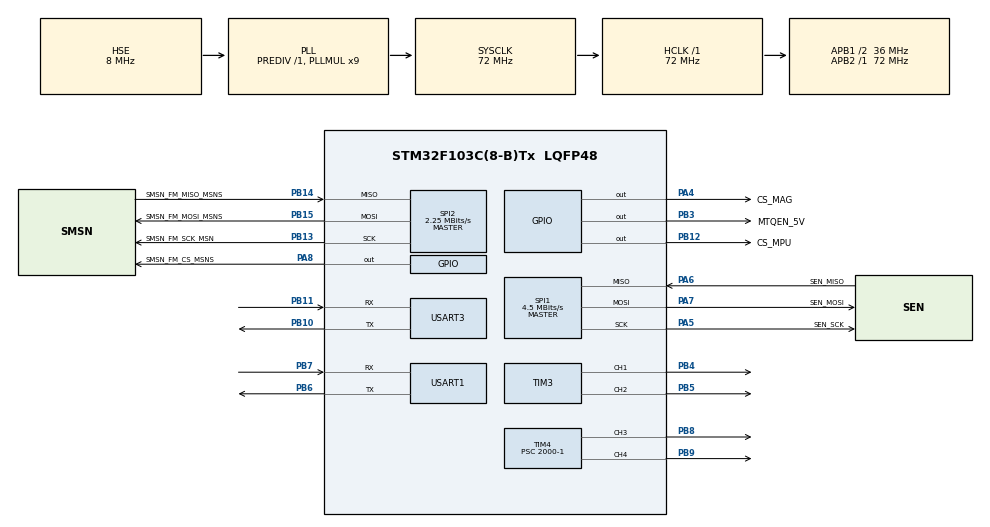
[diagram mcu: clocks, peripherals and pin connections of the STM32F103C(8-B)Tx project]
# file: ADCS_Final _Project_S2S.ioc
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Mcu.Family=STM32F1
Mcu.Name=STM32F103C(8-B)Tx
Mcu.Package=LQFP48
NVIC.PriorityGroup=NVIC_PRIORITYGROUP_4
PA13.Mode=Serial_Wire
PA13.Signal=SYS_JTMS-SWDIO
PA14.Mode=Serial_Wire
PA14.Signal=SYS_JTCK-SWCLK
PA4.GPIO_Label=CS_MAG
PA4.Signal=GPIO_Output
PA5.GPIO_Label=SEN_SCK
PA5.Mode=Full_Duplex_Master
PA5.Signal=SPI1_SCK
PA6.GPIO_Label=SEN_MISO
PA6.Mode=Full_Duplex_Master
PA6.Signal=SPI1_MISO
PA7.GPIO_Label=SEN_MOSI
PA7.Mode=Full_Duplex_Master
PA7.Signal=SPI1_MOSI
PA8.GPIO_Label=SMSN_FM_CS_MSNS
PA8.Signal=GPIO_Output
PB10.Mode=Asynchronous
PB10.Signal=USART3_TX
PB11.Mode=Asynchronous
PB11.Signal=USART3_RX
PB12.GPIO_Label=CS_MPU
PB12.Signal=GPIO_Output
PB13.GPIO_Label=SMSN_FM_SCK_MSN
PB13.Mode=Full_Duplex_Master
PB13.Signal=SPI2_SCK
PB14.GPIO_Label=SMSN_FM_MISO_MSNS
PB14.Mode=Full_Duplex_Master
PB14.Signal=SPI2_MISO
PB15.GPIO_Label=SMSN_FM_MOSI_MSNS
PB15.Mode=Full_Duplex_Master
PB15.Signal=SPI2_MOSI
PB3.GPIO_Label=MTQEN_5V
PB3.Signal=GPIO_Output
PB4.Signal=S_TIM3_CH1
PB5.Signal=S_TIM3_CH2
PB6.Mode=Asynchronous
PB6.Signal=USART1_TX
PB7.Mode=Asynchronous
PB7.Signal=USART1_RX
PB8.Signal=S_TIM4_CH3
PB9.Signal=S_TIM4_CH4
PD0-OSC_IN.Mode=HSE-External-Oscillator
PD0-OSC_IN.Signal=RCC_OSC_IN
PD1-OSC_OUT.Mode=HSE-External-Oscillator
PD1-OSC_OUT.Signal=RCC_OSC_OUT
ProjectManager.HeapSize=0x200
ProjectManager.StackSize=0x400
ProjectManager.TargetToolchain=STM32CubeIDE
RCC.AHBFreq_Value=72000000
RCC.APB1CLKDivider=RCC_HCLK_DIV2
RCC.APB1Freq_Value=36000000
RCC.APB1TimFreq_Value=72000000
RCC.APB2Freq_Value=72000000
RCC.APB2TimFreq_Value=72000000
RCC.HCLKFreq_Value=72000000
RCC.PLLMUL=RCC_PLL_MUL9
RCC.PLLSourceVirtual=RCC_PLLSOURCE_HSE
RCC.SYSCLKFreq_VALUE=72000000
RCC.SYSCLKSource=RCC_SYSCLKSOURCE_PLLCLK
RCC.USBFreq_Value=72000000
SH.S_TIM3_CH1.0=TIM3_CH1,PWM Generation1 CH1
SH.S_TIM3_CH2.0=TIM3_CH2,PWM Generation2 CH2
SH.S_TIM4_CH3.0=TIM4_CH3,PWM Generation3 CH3
SH.S_TIM4_CH4.0=TIM4_CH4,PWM Generation4 CH4
SPI1.BaudRatePrescaler=SPI_BAUDRATEPRESCALER_16
SPI1.CalculateBaudRate=4.5 MBits/s
SPI1.Direction=SPI_DIRECTION_2LINES
SPI1.Mode=SPI_MODE_MASTER
SPI1.VirtualType=VM_MASTER
SPI2.BaudRatePrescaler=SPI_BAUDRATEPRESCALER_16
SPI2.CalculateBaudRate=2.25 MBits/s
SPI2.Direction=SPI_DIRECTION_2LINES
SPI2.Mode=SPI_MODE_MASTER
SPI2.VirtualType=VM_MASTER
TIM3.Channel-PWM\ Generation1\ CH1=TIM_CHANNEL_1
TIM3.Channel-PWM\ Generation2\ CH2=TIM_CHANNEL_2
TIM4.Channel-PWM\ Generation3\ CH3=TIM_CHANNEL_3
TIM4.Channel-PWM\ Generation4\ CH4=TIM_CHANNEL_4
TIM4.Period=36000-1
TIM4.Prescaler=2000-1
USART1.VirtualMode=VM_ASYNC
USART3.VirtualMode=VM_ASYNC
board=custom

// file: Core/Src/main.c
/* USER CODE BEGIN Header */
/**
 ******************************************************************************
 * @file           : main.c
 * @brief          : Main program body
 ******************************************************************************
 * @attention
 *
 * <h2><center>&copy; Copyright (c) 2024 STMicroelectronics.
 * All rights reserved.</center></h2>
 *
 * This software component is licensed by ST under BSD 3-Clause license,
 * the "License"; You may not use this file except in compliance with the
 * License. You may obtain a copy of the License at:
 *                        opensource.org/licenses/BSD-3-Clause
 *
 ******************************************************************************
 */
/* USER CODE END Header */
#include "main.h"

/* USER CODE BEGIN Includes */
#include "IMU.h"
#include "MT25QL.h"
#include "USER_FUNCTIONS.h"
#include "estimator_main.h"
/* USER CODE END Includes */

/* USER CODE BEGIN PTD */
#define FLASH_START_ADDRESS 0x00000000
#define PAGE_SIZE 256
#define PAYLOAD_LENGTH 18
/* USER CODE END PTD */

SPI_HandleTypeDef hspi1;
SPI_HandleTypeDef hspi2;

TIM_HandleTypeDef htim3;
TIM_HandleTypeDef htim4;

UART_HandleTypeDef huart1;
UART_HandleTypeDef huart3;

/* USER CODE BEGIN PV */
MPU6500_t MPU6500;
lsm9ds1_t lsm9ds1;
uint8_t check;
uint8_t _buffer1;
uint8_t cmd = READ_ID;
uint8_t data[20];
uint8_t txBuffer[25];
uint8_t rxData[25];

uint8_t pkt_id;
DEVICE_ID FM_ID;
uint32_t present_address;

extern sat_att_combined combined_sat_att;
/* USER CODE END PV */

void SystemClock_Config(void);
static void MX_GPIO_Init(void);
static void MX_SPI1_Init(void);
static void MX_SPI2_Init(void);
static void MX_TIM3_Init(void);
static void MX_TIM4_Init(void);
static void MX_USART1_UART_Init(void);
static void MX_USART3_UART_Init(void);

int main(void) {

	/* MCU Configuration--------------------------------------------------------*/

	/* Reset of all peripherals, Initializes the Flash interface and the Systick. */
	HAL_Init();

	/* Configure the system clock */
	SystemClock_Config();

	/* Initialize all configured peripherals */
	MX_GPIO_Init();
	MX_SPI1_Init();
	MX_SPI2_Init();
	MX_TIM3_Init();
	MX_TIM4_Init();
	MX_USART1_UART_Init();
	MX_USART3_UART_Init();
	/* USER CODE BEGIN 2 */
	uint32_t flash_address = FLASH_START_ADDRESS;
//	Read_ID(&hspi2, &FM_ID);
	myprintf("### Read_Id : 0x%x \n", FM_ID.MAN_ID);
	HAL_Delay(1);
//	int ret = Sector_Erase(&hspi2, flash_address, 64);
//	Bulk_Read(&hspi2, flash_address, rxData, sizeof(rxData));
	HAL_Delay(1);
	myprintf("%s \n", (char*) rxData);

	/* USER CODE END 2 */

	/* Infinite loop */
	/* USER CODE BEGIN WHILE */
	while (1) {

		whoAmI();
		IMU_Setup();
		HAL_Delay(1000);
		MPU_calcAttitude(&MPU6500);
		MagRead(&lsm9ds1);

		myprintf("### Storing IMU Data in : 0x%x \n", flash_address);
		//		IMU_Data();
		sprintf((char*) txBuffer, "%.2f%.2f%.2f", combined_sat_att.roll,
				combined_sat_att.pitch, combined_sat_att.yaw);
		//		if (sizeof(SAT_IMU) <= PAGE_SIZE) {
//		Page_Write(&hspi2, flash_address, txBuffer, sizeof(txBuffer));
		//		}
		HAL_Delay(1);
		myprintf("### Checking if data is stored or not, in : 0x%x \n",
				flash_address);
		myprintf("--> Stored Data : \n");
//		Bulk_Read(&hspi2, flash_address, rxData, sizeof(rxData));
		HAL_Delay(1);
		myprintf("%s \n", (char*) rxData);
		//		for (int i = 0; i < FLASH_START_ADDRESS; i++) {
		//			myprintf("%x ", rxData[i]);
		//		}
		myprintf("\n");
		HAL_Delay(1000);
		/* USER CODE END WHILE */

	}
}

void SystemClock_Config(void) {
	RCC_OscInitTypeDef RCC_OscInitStruct = { 0 };
	RCC_ClkInitTypeDef RCC_ClkInitStruct = { 0 };

	/** Initializes the RCC Oscillators according to the specified parameters
	 * in the RCC_OscInitTypeDef structure.
	 */
	RCC_OscInitStruct.OscillatorType = RCC_OSCILLATORTYPE_HSE;
	RCC_OscInitStruct.HSEState = RCC_HSE_ON;
	RCC_OscInitStruct.HSEPredivValue = RCC_HSE_PREDIV_DIV1;
	RCC_OscInitStruct.HSIState = RCC_HSI_ON;
	RCC_OscInitStruct.PLL.PLLState = RCC_PLL_ON;
	RCC_OscInitStruct.PLL.PLLSource = RCC_PLLSOURCE_HSE;
	RCC_OscInitStruct.PLL.PLLMUL = RCC_PLL_MUL9;
	if (HAL_RCC_OscConfig(&RCC_OscInitStruct) != HAL_OK) {
		Error_Handler();
	}
	/** Initializes the CPU, AHB and APB buses clocks
	 */
	RCC_ClkInitStruct.ClockType = RCC_CLOCKTYPE_HCLK | RCC_CLOCKTYPE_SYSCLK
			| RCC_CLOCKTYPE_PCLK1 | RCC_CLOCKTYPE_PCLK2;
	RCC_ClkInitStruct.SYSCLKSource = RCC_SYSCLKSOURCE_PLLCLK;
	RCC_ClkInitStruct.AHBCLKDivider = RCC_SYSCLK_DIV1;
	RCC_ClkInitStruct.APB1CLKDivider = RCC_HCLK_DIV2;
	RCC_ClkInitStruct.APB2CLKDivider = RCC_HCLK_DIV1;

	if (HAL_RCC_ClockConfig(&RCC_ClkInitStruct, FLASH_LATENCY_2) != HAL_OK) {
		Error_Handler();
	}
}

static void MX_SPI1_Init(void) {

	/* SPI1 parameter configuration*/
	hspi1.Instance = SPI1;
	hspi1.Init.Mode = SPI_MODE_MASTER;
	hspi1.Init.Direction = SPI_DIRECTION_2LINES;
	hspi1.Init.DataSize = SPI_DATASIZE_8BIT;
	hspi1.Init.CLKPolarity = SPI_POLARITY_LOW;
	hspi1.Init.CLKPhase = SPI_PHASE_1EDGE;
	hspi1.Init.NSS = SPI_NSS_SOFT;
	hspi1.Init.BaudRatePrescaler = SPI_BAUDRATEPRESCALER_16;
	hspi1.Init.FirstBit = SPI_FIRSTBIT_MSB;
	hspi1.Init.TIMode = SPI_TIMODE_DISABLE;
	hspi1.Init.CRCCalculation = SPI_CRCCALCULATION_DISABLE;
	hspi1.Init.CRCPolynomial = 10;
	if (HAL_SPI_Init(&hspi1) != HAL_OK) {
		Error_Handler();
	}

}

static void MX_SPI2_Init(void) {

	/* SPI2 parameter configuration*/
	hspi2.Instance = SPI2;
	hspi2.Init.Mode = SPI_MODE_MASTER;
	hspi2.Init.Direction = SPI_DIRECTION_2LINES;
	hspi2.Init.DataSize = SPI_DATASIZE_8BIT;
	hspi2.Init.CLKPolarity = SPI_POLARITY_LOW;
	hspi2.Init.CLKPhase = SPI_PHASE_1EDGE;
	hspi2.Init.NSS = SPI_NSS_SOFT;
	hspi2.Init.BaudRatePrescaler = SPI_BAUDRATEPRESCALER_16;
	hspi2.Init.FirstBit = SPI_FIRSTBIT_MSB;
	hspi2.Init.TIMode = SPI_TIMODE_DISABLE;
	hspi2.Init.CRCCalculation = SPI_CRCCALCULATION_DISABLE;
	hspi2.Init.CRCPolynomial = 10;
	if (HAL_SPI_Init(&hspi2) != HAL_OK) {
		Error_Handler();
	}

}

static void MX_TIM3_Init(void) {

	TIM_MasterConfigTypeDef sMasterConfig = { 0 };
	TIM_OC_InitTypeDef sConfigOC = { 0 };

	htim3.Instance = TIM3;
	htim3.Init.Prescaler = 0;
	htim3.Init.CounterMode = TIM_COUNTERMODE_UP;
	htim3.Init.Period = 65535;
	htim3.Init.ClockDivision = TIM_CLOCKDIVISION_DIV1;
	htim3.Init.AutoReloadPreload = TIM_AUTORELOAD_PRELOAD_DISABLE;
	if (HAL_TIM_PWM_Init(&htim3) != HAL_OK) {
		Error_Handler();
	}
	sMasterConfig.MasterOutputTrigger = TIM_TRGO_RESET;
	sMasterConfig.MasterSlaveMode = TIM_MASTERSLAVEMODE_DISABLE;
	if (HAL_TIMEx_MasterConfigSynchronization(&htim3, &sMasterConfig)
			!= HAL_OK) {
		Error_Handler();
	}
	sConfigOC.OCMode = TIM_OCMODE_PWM1;
	sConfigOC.Pulse = 0;
	sConfigOC.OCPolarity = TIM_OCPOLARITY_HIGH;
	sConfigOC.OCFastMode = TIM_OCFAST_DISABLE;
	if (HAL_TIM_PWM_ConfigChannel(&htim3, &sConfigOC, TIM_CHANNEL_1)
			!= HAL_OK) {
		Error_Handler();
	}
	if (HAL_TIM_PWM_ConfigChannel(&htim3, &sConfigOC, TIM_CHANNEL_2)
			!= HAL_OK) {
		Error_Handler();
	}
	HAL_TIM_MspPostInit(&htim3);

}

static void MX_TIM4_Init(void) {

	TIM_MasterConfigTypeDef sMasterConfig = { 0 };
	TIM_OC_InitTypeDef sConfigOC = { 0 };

	htim4.Instance = TIM4;
	htim4.Init.Prescaler = 2000 - 1;
	htim4.Init.CounterMode = TIM_COUNTERMODE_UP;
	htim4.Init.Period = 36000 - 1;
	htim4.Init.ClockDivision = TIM_CLOCKDIVISION_DIV1;
	htim4.Init.AutoReloadPreload = TIM_AUTORELOAD_PRELOAD_DISABLE;
	if (HAL_TIM_PWM_Init(&htim4) != HAL_OK) {
		Error_Handler();
	}
	sMasterConfig.MasterOutputTrigger = TIM_TRGO_RESET;
	sMasterConfig.MasterSlaveMode = TIM_MASTERSLAVEMODE_DISABLE;
	if (HAL_TIMEx_MasterConfigSynchronization(&htim4, &sMasterConfig)
			!= HAL_OK) {
		Error_Handler();
	}
	sConfigOC.OCMode = TIM_OCMODE_PWM1;
	sConfigOC.Pulse = 0;
	sConfigOC.OCPolarity = TIM_OCPOLARITY_HIGH;
	sConfigOC.OCFastMode = TIM_OCFAST_DISABLE;
	if (HAL_TIM_PWM_ConfigChannel(&htim4, &sConfigOC, TIM_CHANNEL_3)
			!= HAL_OK) {
		Error_Handler();
	}
	if (HAL_TIM_PWM_ConfigChannel(&htim4, &sConfigOC, TIM_CHANNEL_4)
			!= HAL_OK) {
		Error_Handler();
	}
	HAL_TIM_MspPostInit(&htim4);

}

static void MX_USART1_UART_Init(void) {

	huart1.Instance = USART1;
	huart1.Init.BaudRate = 115200;
	huart1.Init.WordLength = UART_WORDLENGTH_8B;
	huart1.Init.StopBits = UART_STOPBITS_1;
	huart1.Init.Parity = UART_PARITY_NONE;
	huart1.Init.Mode = UART_MODE_TX_RX;
	huart1.Init.HwFlowCtl = UART_HWCONTROL_NONE;
	huart1.Init.OverSampling = UART_OVERSAMPLING_16;
	if (HAL_UART_Init(&huart1) != HAL_OK) {
		Error_Handler();
	}

}

static void MX_USART3_UART_Init(void) {

	huart3.Instance = USART3;
	huart3.Init.BaudRate = 115200;
	huart3.Init.WordLength = UART_WORDLENGTH_8B;
	huart3.Init.StopBits = UART_STOPBITS_1;
	huart3.Init.Parity = UART_PARITY_NONE;
	huart3.Init.Mode = UART_MODE_TX_RX;
	huart3.Init.HwFlowCtl = UART_HWCONTROL_NONE;
	huart3.Init.OverSampling = UART_OVERSAMPLING_16;
	if (HAL_UART_Init(&huart3) != HAL_OK) {
		Error_Handler();
	}

}

static void MX_GPIO_Init(void) {
	GPIO_InitTypeDef GPIO_InitStruct = { 0 };

	/* GPIO Ports Clock Enable */
	__HAL_RCC_GPIOD_CLK_ENABLE();
	__HAL_RCC_GPIOA_CLK_ENABLE();
	__HAL_RCC_GPIOB_CLK_ENABLE();

	/*Configure GPIO pin Output Level */
	HAL_GPIO_WritePin(GPIOA, CS_MAG_Pin | SMSN_FM_CS_MSNS_Pin, GPIO_PIN_RESET);

	/*Configure GPIO pin Output Level */
	HAL_GPIO_WritePin(GPIOB, CS_MPU_Pin | MTQEN_5V_Pin, GPIO_PIN_RESET);

	/*Configure GPIO pins : CS_MAG_Pin SMSN_FM_CS_MSNS_Pin */
	GPIO_InitStruct.Pin = CS_MAG_Pin | SMSN_FM_CS_MSNS_Pin;
	GPIO_InitStruct.Mode = GPIO_MODE_OUTPUT_PP;
	GPIO_InitStruct.Pull = GPIO_NOPULL;
	GPIO_InitStruct.Speed = GPIO_SPEED_FREQ_LOW;
	HAL_GPIO_Init(GPIOA, &GPIO_InitStruct);

	/*Configure GPIO pins : CS_MPU_Pin MTQEN_5V_Pin */
	GPIO_InitStruct.Pin = CS_MPU_Pin | MTQEN_5V_Pin;
	GPIO_InitStruct.Mode = GPIO_MODE_OUTPUT_PP;
	GPIO_InitStruct.Pull = GPIO_NOPULL;
	GPIO_InitStruct.Speed = GPIO_SPEED_FREQ_LOW;
	HAL_GPIO_Init(GPIOB, &GPIO_InitStruct);

}

void Error_Handler(void) {
	__disable_irq();
	while (1) {
	}
}

/************************ (C) COPYRIGHT STMicroelectronics *****END OF FILE****/
